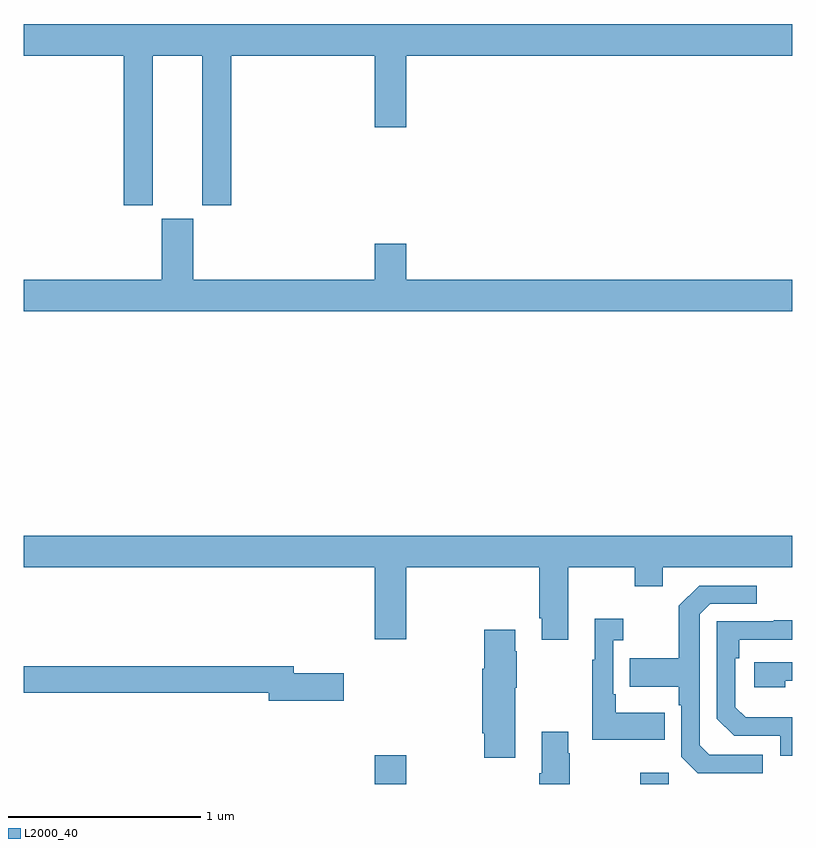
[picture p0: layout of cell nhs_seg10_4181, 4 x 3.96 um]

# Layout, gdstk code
import gdstk
lib = gdstk.Library(unit=1e-6, precision=1e-09)
def R(c, l, rs):  # rectangles x0, y0, x1, y1
    for r in rs: c.add(gdstk.rectangle(r[:2], r[2:], *l))
def P(c, l, *ps):  # polygons
    for p in ps: c.add(gdstk.Polygon(p, *l))
L2000_40 = (2000, 40)

nhs_seg10_4181 = lib.new_cell('nhs_seg10_4181')
R(nhs_seg10_4181, L2000_40, [(344.828,1320.5,344.992,1320.649), (346.21,1320.5,346.356,1320.559)])
P(nhs_seg10_4181, L2000_40, [(343.672,1324.292),(343.928,1324.292),(343.928,1323.513),(344.081,1323.513),(344.081,1324.292),(344.828,1324.292),(344.828,1323.918),(344.992,1323.918),(344.992,1324.292),(347,1324.292),(347,1324.456),(343,1324.456),(343,1324.292),(343.52,1324.292),(343.52,1323.513),(343.672,1323.513)],
  [(347,1323.124),(344.992,1323.124),(344.992,1323.313),(344.828,1323.313),(344.828,1323.124),(343.882,1323.124),(343.882,1323.441),(343.718,1323.441),(343.718,1323.124),(343,1323.124),(343,1322.96),(347,1322.96)],
  [(345.835,1321.628),(346.18,1321.628),(346.18,1321.529),(346.327,1321.529),(346.327,1321.628),(347,1321.628),(347,1321.792),(343,1321.792),(343,1321.628),(344.828,1321.628),(344.828,1321.254),(344.992,1321.254),(344.992,1321.628),(345.683,1321.628),(345.683,1321.363),(345.695,1321.363),(345.695,1321.251),(345.835,1321.251)],
  [(346.846,1320.651),(346.569,1320.651),(346.518,1320.702),(346.518,1321.383),(346.572,1321.437),(346.816,1321.437),(346.816,1321.533),(346.515,1321.533),(346.41,1321.427),(346.41,1321.155),(346.153,1321.155),(346.153,1321.007),(346.41,1321.007),(346.41,1320.911),(346.422,1320.911),(346.422,1320.642),(346.509,1320.555),(346.846,1320.555)],
  [(346.337,1320.871),(346.081,1320.871),(346.081,1320.967),(346.068,1320.967),(346.068,1321.247),(346.12,1321.247),(346.12,1321.36),(345.971,1321.36),(345.971,1321.147),(345.96,1321.147),(345.96,1320.731),(346.337,1320.731)],
  [(347,1320.847),(346.757,1320.847),(346.704,1320.9),(346.704,1321.154),(346.724,1321.154),(346.724,1321.251),(347,1321.251),(347,1321.352),(346.903,1321.352),(346.903,1321.347),(346.608,1321.347),(346.608,1320.84),(346.698,1320.75),(346.938,1320.75),(346.938,1320.648),(347,1320.648)],
  [(345.559,1321.001),(345.567,1321.001),(345.567,1321.19),(345.559,1321.19),(345.559,1321.303),(345.397,1321.303),(345.397,1321.101),(345.386,1321.101),(345.386,1320.765),(345.397,1320.765),(345.397,1320.636),(345.559,1320.636)],
  [(346.964,1321.038),(347,1321.038),(347,1321.134),(346.803,1321.134),(346.803,1321.004),(346.964,1321.004)],
  [(344.665,1321.076),(344.404,1321.076),(344.404,1321.112),(343,1321.112),(343,1320.976),(344.276,1320.976),(344.276,1320.934),(344.665,1320.934)],
  [(345.843,1320.659),(345.835,1320.659),(345.835,1320.772),(345.695,1320.772),(345.695,1320.556),(345.683,1320.556),(345.683,1320.5),(345.843,1320.5)])

lib.write_gds('nhs_seg10_4181.gds')
